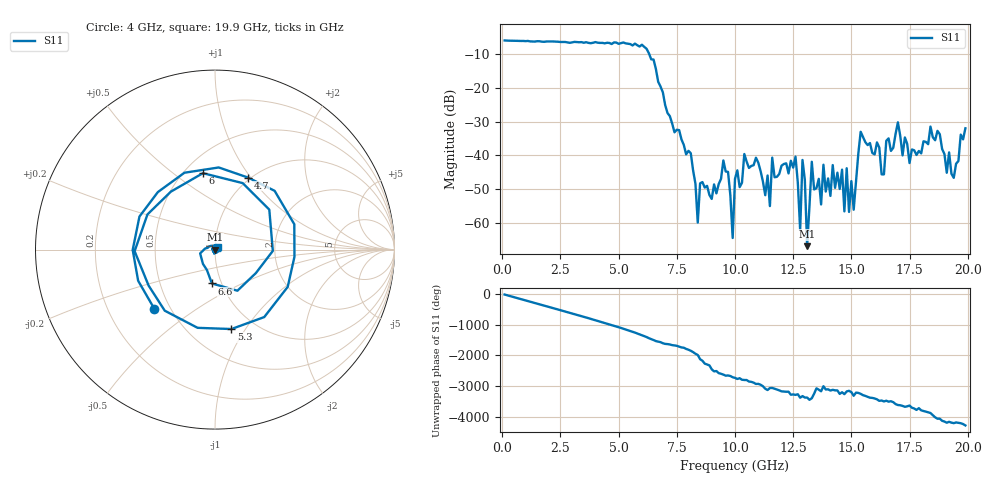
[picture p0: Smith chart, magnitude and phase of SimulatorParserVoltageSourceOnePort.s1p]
# MHz MA S R 50.0
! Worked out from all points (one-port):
!   199 points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, 100 MHz to 19.9 GHz, reference 50 ohm
!   lowest |S11| = -66.8 dB at 13.1 GHz (marker M1), VSWR 1.00, Z = 50 - j0.0337 ohm
!   |S11| at or under -10 dB: 6.309 GHz to end of sweep
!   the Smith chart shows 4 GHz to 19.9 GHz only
!   S11 on the Smith chart (normalised r, x): 4 GHz: 0.41, -0.35; 4.7 GHz: 0.98, +0.97; 5.3 GHz: 0.78, -0.87; 6 GHz: 0.62, +0.64; 6.6 GHz: 0.90, -0.35; 19.9 GHz: 1.04, +0.03
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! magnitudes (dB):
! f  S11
! 100 MHz  -6.0
! 2.6 GHz  -6.5
! 4 GHz  -6.5
! 4.7 GHz  -7.1
! 5.1 GHz  -6.8
! 5.3 GHz  -6.9
! 6 GHz  -7.3
! 6.6 GHz  -14.4
! 7.6 GHz  -32.5
! 8.1 GHz  -39.3
! 8.4 GHz  -59.8
! 9.5 GHz  -41.5
! 9.9 GHz  -64.4
! 10 GHz  -46.9
! 12.5 GHz  -43.6
! 12.8 GHz  -62.0
! 12.9 GHz  -41.3
! 13.1 GHz  -66.8
! 13.3 GHz  -41.9
! 13.7 GHz  -54.4
! 13.8 GHz  -42.7
! 15 GHz  -47.6
! 15.1 GHz  -56.0
! 15.4 GHz  -33.0
! 17.5 GHz  -42.2
! 18.4 GHz  -31.5
! 19.4 GHz  -46.6
! 19.9 GHz  -32.0
